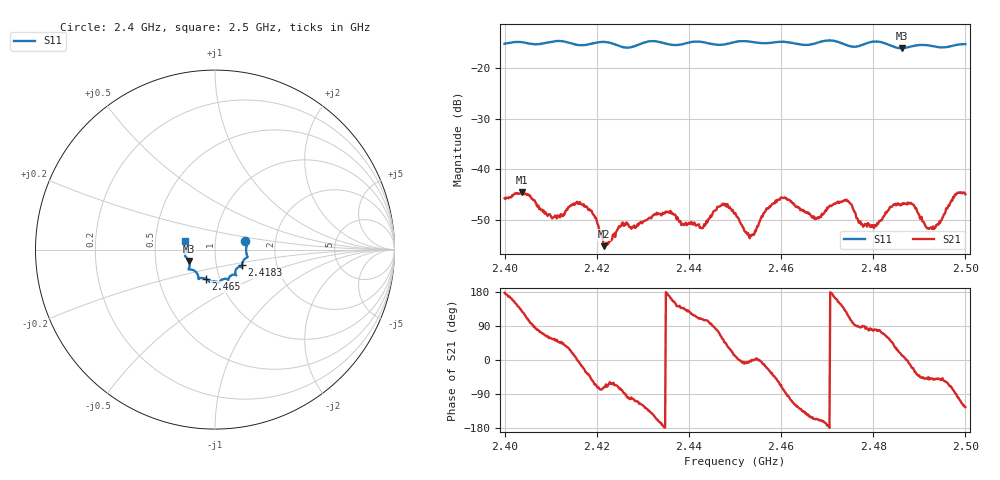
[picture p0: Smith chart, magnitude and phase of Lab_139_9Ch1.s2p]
# Hz S RI R 50
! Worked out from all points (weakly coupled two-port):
!   601 points, 2.4 GHz to 2.5 GHz, reference 50 ohm
!   highest |S21| = -44.55 dB at 2.4037 GHz (marker M1); lowest = -55.3 dB at 2.4215 GHz (marker M2)
!   lowest |S11| = -16.0 dB at 2.4862 GHz (marker M3), VSWR 1.38, Z = 37.1 - j4.82 ohm
!   |S11| at or under -10 dB: start of sweep to end of sweep
!   S12 and S22 are empty: the file has one direction only
!   S11 on the Smith chart (normalised r, x): 2.4 GHz: 1.40, +0.13; 2.4183 GHz: 1.33, -0.24; 2.465 GHz: 0.86, -0.29; 2.5 GHz: 0.71, +0.07
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2.4e9  0.1689 0.0457  -0.00515 0.00023  0 0  0 0
2.403667e9  0.1793 0.0292  -0.00382 0.00452  0 0  0 0
2.4105e9  0.1805 -0.0376  0.00192 0.00269  0 0  0 0
2.416667e9  0.1547 -0.0681  0.00435 -0.00118  0 0  0 0
2.418333e9  0.1499 -0.0866  0.00307 -0.00262  0 0  0 0
2.4215e9  0.1525 -0.1001  0.000511 -0.00165  0 0  0 0
2.433333e9  0.1166 -0.1413  -0.00346 -0.00119  0 0  0 0
2.442667e9  0.073 -0.1677  -0.000848 0.00247  0 0  0 0
2.447167e9  0.0421 -0.1659  0.00237 0.00378  0 0  0 0
2.45e9  0.0251 -0.1809  0.00363 0.000674  0 0  0 0
2.4535e9  0.0166 -0.1822  0.00216 -0.000153  0 0  0 0
2.459667e9  -0.0267 -0.1809  0.00226 -0.00443  0 0  0 0
2.465e9  -0.0527 -0.1623  -0.0028 -0.00257  0 0  0 0
2.466667e9  -0.0713 -0.1577  -0.00291 -0.00166  0 0  0 0
2.474167e9  -0.0962 -0.1399  -0.00293 0.00404  0 0  0 0
2.477333e9  -0.1253 -0.1128  0.000189 0.00284  0 0  0 0
2.479833e9  -0.1464 -0.1104  0.000494 0.00263  0 0  0 0
2.483333e9  -0.142 -0.096  0.00212 0.00329  0 0  0 0
2.486167e9  -0.1447 -0.0634  0.00441 0.00103  0 0  0 0
2.493e9  -0.1644 -0.0193  0.00177 -0.00205  0 0  0 0
2.497833e9  -0.1659 0.0349  9.64e-05 -0.00565  0 0  0 0
2.5e9  -0.1669 0.0473  -0.00319 -0.00464  0 0  0 0
